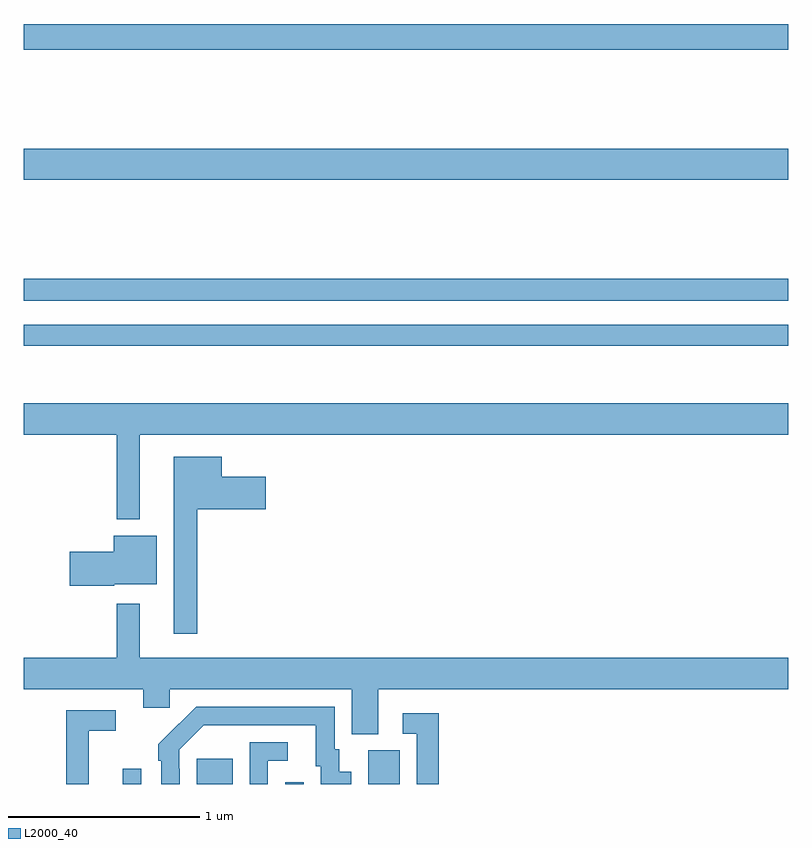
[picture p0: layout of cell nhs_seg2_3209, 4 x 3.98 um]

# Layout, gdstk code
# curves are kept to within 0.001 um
import gdstk
lib = gdstk.Library(unit=1e-6, precision=1e-09)
def R(c, l, rs):  # rectangles x0, y0, x1, y1
    for r in rs: c.add(gdstk.rectangle(r[:2], r[2:], *l))
def P(c, l, *ps):  # polygons
    for p in ps: c.add(gdstk.Polygon(p, *l))
L2000_40 = (2000, 40)

nhs_seg2_3209 = lib.new_cell('nhs_seg2_3209')
R(nhs_seg2_3209, L2000_40, [(279.519,653.8,279.615,653.881), (279.905,653.8,280.093,653.932), (280.368,653.8,280.464,653.809), (280.802,653.8,280.966,653.976), (279,656.094,283,656.202), (279,656.328,283,656.444), (279,656.96,283,657.124), (279,657.64,283,657.776)])
P(nhs_seg2_3209, L2000_40, [(279.607,655.628),(283,655.628),(283,655.792),(279,655.792),(279,655.628),(279.486,655.628),(279.486,655.184),(279.607,655.184)],
  [(279.907,655.238),(280.267,655.238),(280.267,655.408),(280.036,655.408),(280.036,655.513),(279.785,655.513),(279.785,654.585),(279.907,654.585)],
  [(279.474,654.845),(279.697,654.845),(279.697,655.099),(279.47,655.099),(279.47,655.016),(279.24,655.016),(279.24,654.838),(279.474,654.838)],
  [(280.855,654.296),(283,654.296),(283,654.46),(279.607,654.46),(279.607,654.742),(279.486,654.742),(279.486,654.46),(279,654.46),(279,654.296),(279.626,654.296),(279.626,654.198),(279.765,654.198),(279.765,654.296),(280.715,654.296),(280.715,654.061),(280.855,654.061)],
  [(279.816,653.879),(279.813,653.879),(279.813,653.979),(279.942,654.108),(280.529,654.108),(280.529,653.892),(280.553,653.892),(280.553,653.8),(280.714,653.8),(280.714,653.863),(280.651,653.863),(280.651,653.982),(280.626,653.982),(280.626,654.204),(279.902,654.204),(279.705,654.009),(279.705,653.921),(279.72,653.921),(279.72,653.8),(279.816,653.8)],
  [(279.341,654.078),(279.481,654.078),(279.481,654.186),(279.223,654.186),(279.223,653.8),(279.341,653.8)],
  [(281.171,654.169),(280.983,654.169),(280.983,654.063),(281.055,654.063),(281.055,653.8),(281.171,653.8)],
  [(280.278,653.922),(280.381,653.922),(280.381,654.018),(280.182,654.018),(280.182,653.8),(280.278,653.8)])

lib.write_gds('nhs_seg2_3209.gds')
